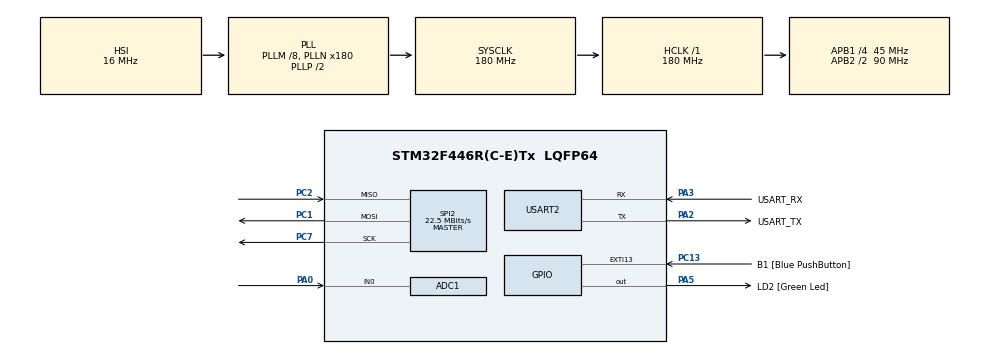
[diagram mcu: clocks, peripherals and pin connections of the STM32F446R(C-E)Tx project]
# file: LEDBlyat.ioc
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ADC1.Channel-2\#ChannelRegularConversion=ADC_CHANNEL_0
ADC1.ContinuousConvMode=ENABLE
ADC1.NbrOfConversionFlag=1
ADC1.Rank-2\#ChannelRegularConversion=1
ADC1.SamplingTime-2\#ChannelRegularConversion=ADC_SAMPLETIME_3CYCLES
ADC1.master=1
Mcu.Family=STM32F4
Mcu.Name=STM32F446R(C-E)Tx
Mcu.Package=LQFP64
NVIC.ADC_IRQn=true\:0\:0\:false\:false\:true\:true\:true
NVIC.PriorityGroup=NVIC_PRIORITYGROUP_0
NVIC.TIM1_BRK_TIM9_IRQn=true\:0\:0\:false\:false\:true\:true\:true
NVIC.TIM1_TRG_COM_TIM11_IRQn=true\:0\:0\:false\:false\:true\:true\:true
NVIC.TIM1_UP_TIM10_IRQn=true\:0\:0\:false\:false\:true\:true\:true
PA0-WKUP.Signal=ADCx_IN0
PA13.GPIO_Label=TMS
PA13.Mode=Serial_Wire
PA13.Signal=SYS_JTMS-SWDIO
PA14.GPIO_Label=TCK
PA14.Mode=Serial_Wire
PA14.Signal=SYS_JTCK-SWCLK
PA2.GPIO_Label=USART_TX
PA2.Mode=Asynchronous
PA2.Signal=USART2_TX
PA3.GPIO_Label=USART_RX
PA3.Mode=Asynchronous
PA3.Signal=USART2_RX
PA5.GPIO_Label=LD2 [Green Led]
PA5.Signal=GPIO_Output
PB3.GPIO_Label=SWO
PB3.Signal=SYS_JTDO-SWO
PC1.Mode=Full_Duplex_Master
PC1.Signal=SPI2_MOSI
PC13.GPIO_Label=B1 [Blue PushButton]
PC13.GPIO_ModeDefaultEXTI=GPIO_MODE_IT_FALLING
PC13.Signal=GPXTI13
PC14-OSC32_IN.Mode=LSE-External-Oscillator
PC14-OSC32_IN.Signal=RCC_OSC32_IN
PC15-OSC32_OUT.Mode=LSE-External-Oscillator
PC15-OSC32_OUT.Signal=RCC_OSC32_OUT
PC2.Mode=Full_Duplex_Master
PC2.Signal=SPI2_MISO
PC7.Mode=Full_Duplex_Master
PC7.Signal=SPI2_SCK
PH0-OSC_IN.Mode=HSE-External-Oscillator
PH0-OSC_IN.Signal=RCC_OSC_IN
PH1-OSC_OUT.Mode=HSE-External-Oscillator
PH1-OSC_OUT.Signal=RCC_OSC_OUT
ProjectManager.HeapSize=0x200
ProjectManager.StackSize=0x400
ProjectManager.TargetToolchain=STM32CubeIDE
RCC.48MHZClocksFreq_Value=84000000
RCC.AHBFreq_Value=180000000
RCC.APB1CLKDivider=RCC_HCLK_DIV4
RCC.APB1Freq_Value=45000000
RCC.APB1TimFreq_Value=90000000
RCC.APB2CLKDivider=RCC_HCLK_DIV2
RCC.APB2Freq_Value=90000000
RCC.APB2TimFreq_Value=180000000
RCC.CortexFreq_Value=180000000
RCC.FLatency-AdvancedSettings=FLASH_LATENCY_5
RCC.HCLKFreq_Value=180000000
RCC.HSE_VALUE=8000000
RCC.HSI_VALUE=16000000
RCC.PLLM=8
RCC.PLLN=180
RCC.SYSCLKFreq_VALUE=180000000
RCC.SYSCLKSource=RCC_SYSCLKSOURCE_PLLCLK
RCC.USBFreq_Value=180000000
RCC.VCOOutputFreq_Value=360000000
SH.ADCx_IN0.0=ADC1_IN0,IN0
SPI2.CalculateBaudRate=22.5 MBits/s
SPI2.Direction=SPI_DIRECTION_2LINES
SPI2.Mode=SPI_MODE_MASTER
SPI2.VirtualType=VM_MASTER
TIM1.Period=200 - 1
TIM1.Prescaler=9000-1
USART2.VirtualMode=VM_ASYNC
VP_TIM1_VS_ClockSourceINT.Mode=Internal
board=NUCLEO-F446RE

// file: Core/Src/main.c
/* USER CODE BEGIN Header */
/**
  ******************************************************************************
  * @file           : main.c
  * @brief          : Main program body
  ******************************************************************************
  * @attention
  *
  * <h2><center>&copy; Copyright (c) 2020 STMicroelectronics.
  * All rights reserved.</center></h2>
  *
  * This software component is licensed by ST under BSD 3-Clause license,
  * the "License"; You may not use this file except in compliance with the
  * License. You may obtain a copy of the License at:
  *                        opensource.org/licenses/BSD-3-Clause
  *
  ******************************************************************************
  */
/* USER CODE END Header */

#include "main.h"

ADC_HandleTypeDef hadc1;

SPI_HandleTypeDef hspi2;

TIM_HandleTypeDef htim1;

UART_HandleTypeDef huart2;

void SystemClock_Config(void);
static void MX_GPIO_Init(void);
static void MX_USART2_UART_Init(void);
static void MX_SPI2_Init(void);
static void MX_ADC1_Init(void);
static void MX_TIM1_Init(void);

/* USER CODE BEGIN 0 */
uint8_t stateLED = 0;
uint8_t	increment = 0;
uint8_t lastStateLED = 0;

typedef struct {
	  uint8_t  staticStart 		: 3;
	  uint8_t  globalBrightness : 5;
	  uint8_t  blue				: 8;

	  uint8_t  green       		: 8;
	  uint8_t  red       		: 8;

}__attribute__((__packed__)) ledFrame;

typedef struct
{
	  uint32_t startFrame;
	  ledFrame ledarray[9];
	  uint32_t endFrame;

} Frame;

Frame frame;

typedef struct {
    double r;       // a fraction between 0 and 1
    double g;       // a fraction between 0 and 1
    double b;       // a fraction between 0 and 1
} rgb;

typedef struct {
    double h;       // angle in degrees
    double s;       // a fraction between 0 and 1
    double v;       // a fraction between 0 and 1
} hsv;

static hsv   rgb2hsv(rgb in);
static rgb   hsv2rgb(hsv in);

hsv rgb2hsv(rgb in)
{
    hsv         out;
    double      min, max, delta;

    min = in.r < in.g ? in.r : in.g;
    min = min  < in.b ? min  : in.b;

    max = in.r > in.g ? in.r : in.g;
    max = max  > in.b ? max  : in.b;

    out.v = max;                                // v
    delta = max - min;
    if (delta < 0.00001)
    {
        out.s = 0;
        out.h = 0; // undefined, maybe nan?
        return out;
    }
    if( max > 0.0 ) { // NOTE: if Max is == 0, this divide would cause a crash
        out.s = (delta / max);                  // s
    } else {
        // if max is 0, then r = g = b = 0
        // s = 0, h is undefined
        out.s = 0.0;
        //out.h = NAN;                            // its now undefined
        return out;
    }
    if( in.r >= max )                           // > is bogus, just keeps compilor happy
        out.h = ( in.g - in.b ) / delta;        // between yellow & magenta
    else
    if( in.g >= max )
        out.h = 2.0 + ( in.b - in.r ) / delta;  // between cyan & yellow
    else
        out.h = 4.0 + ( in.r - in.g ) / delta;  // between magenta & cyan

    out.h *= 60.0;                              // degrees

    if( out.h < 0.0 )
        out.h += 360.0;

    return out;
}

rgb hsv2rgb(hsv in)
{
    double      hh, p, q, t, ff;
    long        i;
    rgb         out;

    if(in.s <= 0.0) {       // < is bogus, just shuts up warnings
        out.r = in.v;
        out.g = in.v;
        out.b = in.v;
        return out;
    }
    hh = in.h;
    if(hh >= 360.0) hh = 0.0;
    hh /= 60.0;
    i = (long)hh;
    ff = hh - i;
    p = in.v * (1.0 - in.s);
    q = in.v * (1.0 - (in.s * ff));
    t = in.v * (1.0 - (in.s * (1.0 - ff)));

    switch(i) {
    case 0:
        out.r = in.v;
        out.g = t;
        out.b = p;
        break;
    case 1:
        out.r = q;
        out.g = in.v;
        out.b = p;
        break;
    case 2:
        out.r = p;
        out.g = in.v;
        out.b = t;
        break;

    case 3:
        out.r = p;
        out.g = q;
        out.b = in.v;
        break;
    case 4:
        out.r = t;
        out.g = p;
        out.b = in.v;
        break;
    case 5:
    default:
        out.r = in.v;
        out.g = p;
        out.b = q;
        break;
    }
    return out;
}

hsv hsv_farbe;

/* USER CODE END 0 */

int main(void)
{

  /* MCU Configuration--------------------------------------------------------*/

  /* Reset of all peripherals, Initializes the Flash interface and the Systick. */
  HAL_Init();

  /* Configure the system clock */
  SystemClock_Config();

  /* Initialize all configured peripherals */
  MX_GPIO_Init();
  MX_USART2_UART_Init();
  MX_SPI2_Init();
  MX_ADC1_Init();
  MX_TIM1_Init();
  /* USER CODE BEGIN 2 */
  HAL_TIM_Base_Start_IT(&htim1);

  frame.startFrame	=	0;
  frame.endFrame	=	0xFFFFFFFF;

  for(	int i =0; i<9; i++){
	  frame.ledarray[i].blue	=	0;
	  frame.ledarray[i].green	=	0;
	  frame.ledarray[i].red		=	255;

	  frame.ledarray[i].staticStart	=	0b111;
	  frame.ledarray[i].globalBrightness	=	0b11111;

  }

  /* USER CODE END 2 */

  /* Infinite loop */
  /* USER CODE BEGIN WHILE */
  while (1)
  {

	  if (HAL_SPI_GetState(&hspi2) == HAL_SPI_STATE_READY){
		  HAL_SPI_Transmit(&hspi2, &frame , sizeof(Frame), 100);
	  }
    /* USER CODE END WHILE */

  }
}

void SystemClock_Config(void)
{
  RCC_OscInitTypeDef RCC_OscInitStruct = {0};
  RCC_ClkInitTypeDef RCC_ClkInitStruct = {0};

  /** Configure the main internal regulator output voltage
  */
  __HAL_RCC_PWR_CLK_ENABLE();
  __HAL_PWR_VOLTAGESCALING_CONFIG(PWR_REGULATOR_VOLTAGE_SCALE1);
  /** Initializes the CPU, AHB and APB busses clocks
  */
  RCC_OscInitStruct.OscillatorType = RCC_OSCILLATORTYPE_HSI;
  RCC_OscInitStruct.HSIState = RCC_HSI_ON;
  RCC_OscInitStruct.HSICalibrationValue = RCC_HSICALIBRATION_DEFAULT;
  RCC_OscInitStruct.PLL.PLLState = RCC_PLL_ON;
  RCC_OscInitStruct.PLL.PLLSource = RCC_PLLSOURCE_HSI;
  RCC_OscInitStruct.PLL.PLLM = 8;
  RCC_OscInitStruct.PLL.PLLN = 180;
  RCC_OscInitStruct.PLL.PLLP = RCC_PLLP_DIV2;
  RCC_OscInitStruct.PLL.PLLQ = 2;
  RCC_OscInitStruct.PLL.PLLR = 2;
  if (HAL_RCC_OscConfig(&RCC_OscInitStruct) != HAL_OK)
  {
    Error_Handler();
  }
  /** Activate the Over-Drive mode
  */
  if (HAL_PWREx_EnableOverDrive() != HAL_OK)
  {
    Error_Handler();
  }
  /** Initializes the CPU, AHB and APB busses clocks
  */
  RCC_ClkInitStruct.ClockType = RCC_CLOCKTYPE_HCLK|RCC_CLOCKTYPE_SYSCLK
                              |RCC_CLOCKTYPE_PCLK1|RCC_CLOCKTYPE_PCLK2;
  RCC_ClkInitStruct.SYSCLKSource = RCC_SYSCLKSOURCE_PLLCLK;
  RCC_ClkInitStruct.AHBCLKDivider = RCC_SYSCLK_DIV1;
  RCC_ClkInitStruct.APB1CLKDivider = RCC_HCLK_DIV4;
  RCC_ClkInitStruct.APB2CLKDivider = RCC_HCLK_DIV2;

  if (HAL_RCC_ClockConfig(&RCC_ClkInitStruct, FLASH_LATENCY_5) != HAL_OK)
  {
    Error_Handler();
  }
}

static void MX_ADC1_Init(void)
{

  ADC_ChannelConfTypeDef sConfig = {0};

  /** Configure the global features of the ADC (Clock, Resolution, Data Alignment and number of conversion)
  */
  hadc1.Instance = ADC1;
  hadc1.Init.ClockPrescaler = ADC_CLOCK_SYNC_PCLK_DIV4;
  hadc1.Init.Resolution = ADC_RESOLUTION_12B;
  hadc1.Init.ScanConvMode = DISABLE;
  hadc1.Init.ContinuousConvMode = ENABLE;
  hadc1.Init.DiscontinuousConvMode = DISABLE;
  hadc1.Init.ExternalTrigConvEdge = ADC_EXTERNALTRIGCONVEDGE_NONE;
  hadc1.Init.ExternalTrigConv = ADC_SOFTWARE_START;
  hadc1.Init.DataAlign = ADC_DATAALIGN_RIGHT;
  hadc1.Init.NbrOfConversion = 1;
  hadc1.Init.DMAContinuousRequests = DISABLE;
  hadc1.Init.EOCSelection = ADC_EOC_SINGLE_CONV;
  if (HAL_ADC_Init(&hadc1) != HAL_OK)
  {
    Error_Handler();
  }
  /** Configure for the selected ADC regular channel its corresponding rank in the sequencer and its sample time.
  */
  sConfig.Channel = ADC_CHANNEL_0;
  sConfig.Rank = 1;
  sConfig.SamplingTime = ADC_SAMPLETIME_3CYCLES;
  if (HAL_ADC_ConfigChannel(&hadc1, &sConfig) != HAL_OK)
  {
    Error_Handler();
  }

}

static void MX_SPI2_Init(void)
{

  /* SPI2 parameter configuration*/
  hspi2.Instance = SPI2;
  hspi2.Init.Mode = SPI_MODE_MASTER;
  hspi2.Init.Direction = SPI_DIRECTION_2LINES;
  hspi2.Init.DataSize = SPI_DATASIZE_8BIT;
  hspi2.Init.CLKPolarity = SPI_POLARITY_LOW;
  hspi2.Init.CLKPhase = SPI_PHASE_1EDGE;
  hspi2.Init.NSS = SPI_NSS_SOFT;
  hspi2.Init.BaudRatePrescaler = SPI_BAUDRATEPRESCALER_2;
  hspi2.Init.FirstBit = SPI_FIRSTBIT_MSB;
  hspi2.Init.TIMode = SPI_TIMODE_DISABLE;
  hspi2.Init.CRCCalculation = SPI_CRCCALCULATION_DISABLE;
  hspi2.Init.CRCPolynomial = 10;
  if (HAL_SPI_Init(&hspi2) != HAL_OK)
  {
    Error_Handler();
  }

}

static void MX_TIM1_Init(void)
{

  TIM_ClockConfigTypeDef sClockSourceConfig = {0};
  TIM_MasterConfigTypeDef sMasterConfig = {0};

  htim1.Instance = TIM1;
  htim1.Init.Prescaler = 9000-1;
  htim1.Init.CounterMode = TIM_COUNTERMODE_UP;
  htim1.Init.Period = 200 - 1;
  htim1.Init.ClockDivision = TIM_CLOCKDIVISION_DIV1;
  htim1.Init.RepetitionCounter = 0;
  htim1.Init.AutoReloadPreload = TIM_AUTORELOAD_PRELOAD_DISABLE;
  if (HAL_TIM_Base_Init(&htim1) != HAL_OK)
  {
    Error_Handler();
  }
  sClockSourceConfig.ClockSource = TIM_CLOCKSOURCE_INTERNAL;
  if (HAL_TIM_ConfigClockSource(&htim1, &sClockSourceConfig) != HAL_OK)
  {
    Error_Handler();
  }
  sMasterConfig.MasterOutputTrigger = TIM_TRGO_RESET;
  sMasterConfig.MasterSlaveMode = TIM_MASTERSLAVEMODE_DISABLE;
  if (HAL_TIMEx_MasterConfigSynchronization(&htim1, &sMasterConfig) != HAL_OK)
  {
    Error_Handler();
  }

}

static void MX_USART2_UART_Init(void)
{

  huart2.Instance = USART2;
  huart2.Init.BaudRate = 115200;
  huart2.Init.WordLength = UART_WORDLENGTH_8B;
  huart2.Init.StopBits = UART_STOPBITS_1;
  huart2.Init.Parity = UART_PARITY_NONE;
  huart2.Init.Mode = UART_MODE_TX_RX;
  huart2.Init.HwFlowCtl = UART_HWCONTROL_NONE;
  huart2.Init.OverSampling = UART_OVERSAMPLING_16;
  if (HAL_UART_Init(&huart2) != HAL_OK)
  {
    Error_Handler();
  }

}

static void MX_GPIO_Init(void)
{
  GPIO_InitTypeDef GPIO_InitStruct = {0};

  /* GPIO Ports Clock Enable */
  __HAL_RCC_GPIOC_CLK_ENABLE();
  __HAL_RCC_GPIOH_CLK_ENABLE();
  __HAL_RCC_GPIOA_CLK_ENABLE();
  __HAL_RCC_GPIOB_CLK_ENABLE();

  /*Configure GPIO pin Output Level */
  HAL_GPIO_WritePin(LD2_GPIO_Port, LD2_Pin, GPIO_PIN_RESET);

  /*Configure GPIO pin : B1_Pin */
  GPIO_InitStruct.Pin = B1_Pin;
  GPIO_InitStruct.Mode = GPIO_MODE_IT_FALLING;
  GPIO_InitStruct.Pull = GPIO_NOPULL;
  HAL_GPIO_Init(B1_GPIO_Port, &GPIO_InitStruct);

  /*Configure GPIO pin : LD2_Pin */
  GPIO_InitStruct.Pin = LD2_Pin;
  GPIO_InitStruct.Mode = GPIO_MODE_OUTPUT_PP;
  GPIO_InitStruct.Pull = GPIO_NOPULL;
  GPIO_InitStruct.Speed = GPIO_SPEED_FREQ_LOW;
  HAL_GPIO_Init(LD2_GPIO_Port, &GPIO_InitStruct);

}

/* USER CODE BEGIN 4 */

void HAL_TIM_PeriodElapsedCallback(TIM_HandleTypeDef *htim)
{

		increment++;

		hsv_farbe.h = increment * 1.41;
		hsv_farbe.s = 1;
		hsv_farbe.v = 1;

		int r = hsv2rgb(hsv_farbe).b * 255;
		int g = hsv2rgb(hsv_farbe).g * 255;
		int b = hsv2rgb(hsv_farbe).r * 255;

		stateLED ^= 1;

		HAL_GPIO_TogglePin(LD2_GPIO_Port, LD2_Pin);

		for(int i =0; i<9; i++){

			  frame.ledarray[i].blue	=	r;
			  frame.ledarray[i].green	=	g;
			  frame.ledarray[i].red		=   b;

		  }

}

/* USER CODE END 4 */

void Error_Handler(void)
{
}

/************************ (C) COPYRIGHT STMicroelectronics *****END OF FILE****/
